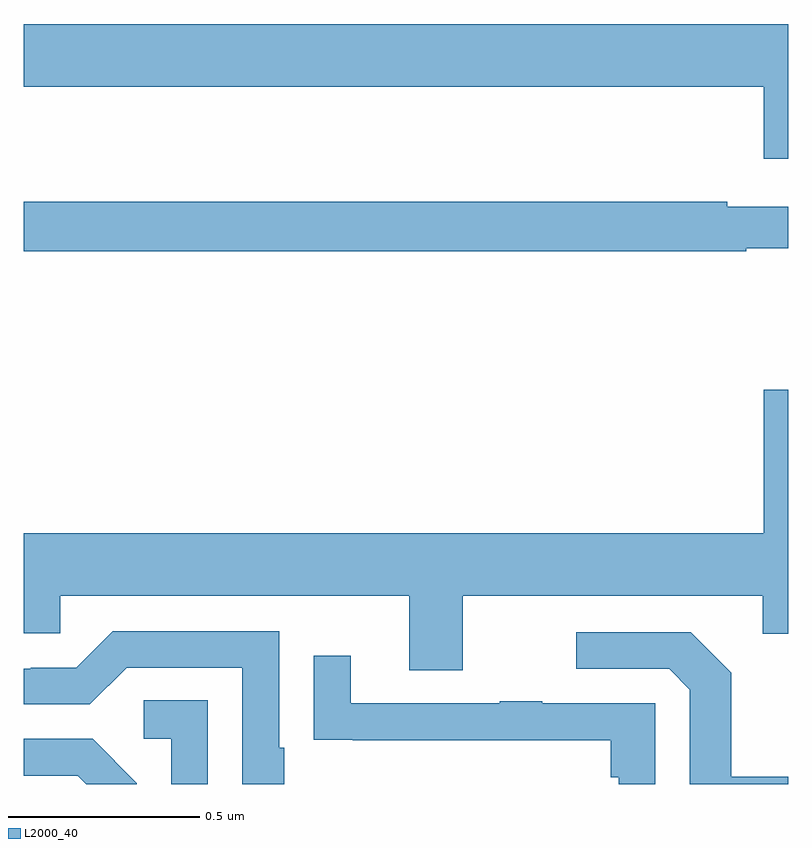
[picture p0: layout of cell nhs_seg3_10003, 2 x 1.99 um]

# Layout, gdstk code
import gdstk
lib = gdstk.Library(unit=1e-6, precision=1e-09)
def P(c, l, *ps):  # polygons
    for p in ps: c.add(gdstk.Polygon(p, *l))
L2000_40 = (2000, 40)

nhs_seg3_10003 = lib.new_cell('nhs_seg3_10003')
P(nhs_seg3_10003, L2000_40, [(237,726.388),(235,726.388),(235,726.224),(236.936,726.224),(236.936,726.036),(237,726.036)],
  [(236.89,725.802),(237,725.802),(237,725.91),(236.84,725.91),(236.84,725.923),(235,725.923),(235,725.794),(236.89,725.794)],
  [(236.149,724.892),(236.933,724.892),(236.933,724.793),(237,724.793),(237,725.431),(236.936,725.431),(236.936,725.056),(235,725.056),(235,724.794),(235.095,724.794),(235.095,724.892),(236.009,724.892),(236.009,724.698),(236.149,724.698)],
  [(235.681,724.495),(235.668,724.495),(235.668,724.8),(235.233,724.8),(235.137,724.704),(235.019,724.704),(235.019,724.701),(235,724.701),(235,724.608),(235.173,724.608),(235.269,724.704),(235.572,724.704),(235.572,724.4),(235.681,724.4)],
  [(237,724.419),(236.851,724.419),(236.851,724.691),(236.745,724.797),(236.445,724.797),(236.445,724.701),(236.688,724.701),(236.742,724.647),(236.742,724.4),(237,724.4)],
  [(236.652,724.611),(236.357,724.611),(236.357,724.616),(236.245,724.616),(236.245,724.611),(235.855,724.611),(235.855,724.735),(235.759,724.735),(235.759,724.516),(235.861,724.516),(235.861,724.515),(236.536,724.515),(236.536,724.418),(236.556,724.418),(236.556,724.4),(236.652,724.4)],
  [(235.482,724.619),(235.314,724.619),(235.314,724.518),(235.386,724.518),(235.386,724.4),(235.482,724.4)],
  [(235.296,724.402),(235.18,724.518),(235,724.518),(235,724.422),(235.142,724.422),(235.164,724.4),(235.296,724.4)])

lib.write_gds('nhs_seg3_10003.gds')
